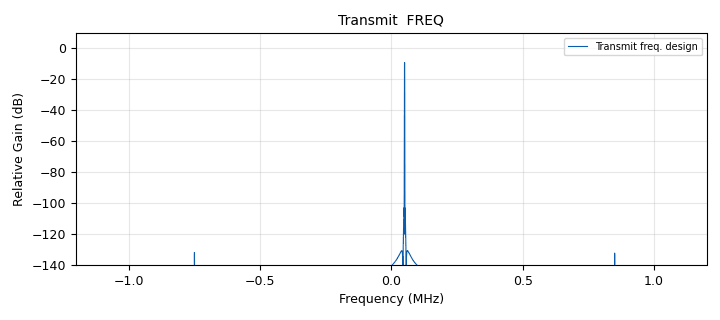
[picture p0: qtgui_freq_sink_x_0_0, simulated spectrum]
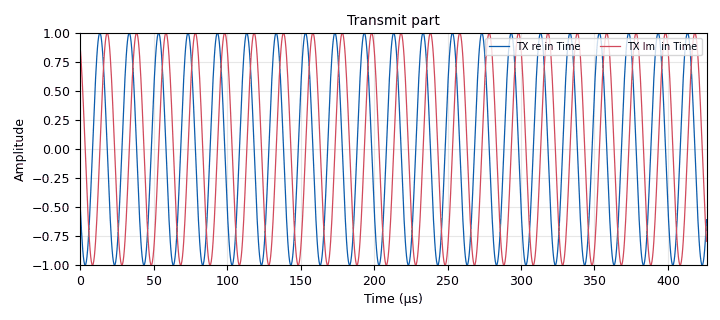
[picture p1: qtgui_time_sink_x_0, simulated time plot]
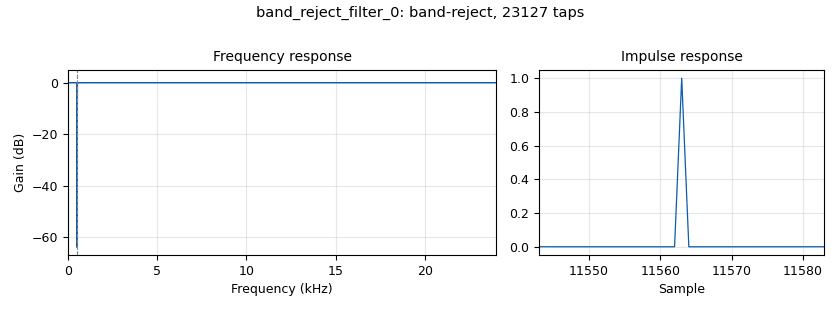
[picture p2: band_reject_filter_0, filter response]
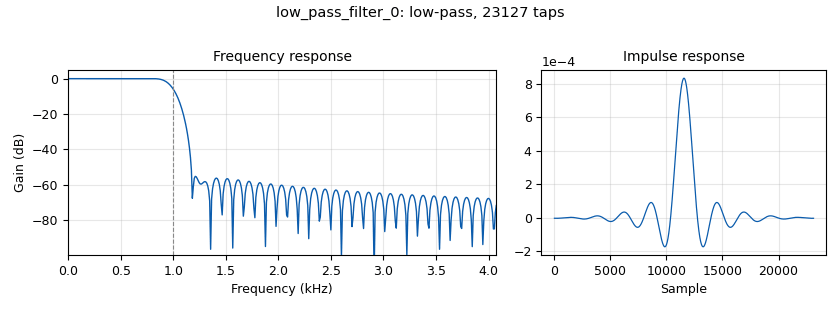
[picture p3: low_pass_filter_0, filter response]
options:
  parameters:
    generate_options: qt_gui
    id: radarPluto
    output_language: python
    title: adamplutoradar
  states: {}

blocks:
- name: audio_gain
  id: variable_qtgui_range
  parameters:
    start: '0'
    step: '1'
    stop: '100'
    value: '1'
  states: {}
- name: freqencyTXrx
  id: variable_qtgui_range
  parameters:
    start: '2000000000'
    step: '100000'
    stop: '3600000000'
    value: '3500000000'
  states: {}
- name: rx_gain
  id: variable_qtgui_range
  parameters:
    gui_hint: 0,1
    start: '0'
    step: '1'
    stop: '70'
    value: '64'
  states: {}
- name: samp_rate
  id: variable
  parameters:
    value: 2.4e6
  states: {}
- name: tone_freq
  id: variable_qtgui_range
  parameters:
    start: '-2e3'
    step: '1'
    stop: 2e3
    value: '500'
  states: {}
- name: tx_attent
  id: variable_qtgui_range
  parameters:
    gui_hint: 0,0
    start: '0'
    step: '1'
    stop: '100'
    value: '50'
  states: {}
- name: analog_sig_source_x_0
  id: analog_sig_source_x
  parameters:
    amp: '1'
    freq: '50000'
    offset: '0'
    phase: '0'
    samp_rate: samp_rate
    type: complex
    waveform: analog.GR_COS_WAVE
  states: {}
- name: audio_sink_0
  id: audio_sink
  parameters:
    samp_rate: '48000'
  states: {}
- name: band_reject_filter_0
  id: band_reject_filter
  parameters:
    decim: '1'
    gain: '1'
    high_cutoff_freq: '505'
    low_cutoff_freq: '495'
    samp_rate: samp_rate/50
    type: fir_filter_ccf
    width: '5'
    win: window.WIN_HAMMING
  states: {}
- name: blocks_complex_to_real_0
  id: blocks_complex_to_real
  parameters: {}
  states: {}
- name: blocks_multiply_const_vxx_0
  id: blocks_multiply_const_vxx
  parameters:
    const: audio_gain
    type: complex
  states: {}
- name: iio_pluto_sink_0
  id: iio_pluto_sink
  parameters:
    attenuation1: tx_attent
    bandwidth: '20000000'
    buffer_size: '32768'
    cyclic: 'False'
    filter_source: '''Auto'''
    frequency: freqencyTXrx
    samplerate: int(samp_rate)
    type: fc32
    uri: ip:192.168.2.1
  states: {}
- name: iio_pluto_source_0
  id: iio_pluto_source
  parameters:
    bandwidth: '20000000'
    bbdc: 'True'
    buffer_size: '32768'
    filter_source: '''Auto'''
    frequency: freqencyTXrx
    gain1: '''manual'''
    manual_gain1: rx_gain
    quadrature: 'True'
    rfdc: 'True'
    samplerate: int(samp_rate)
    type: fc32
    uri: ip:192.168.2.1
  states: {}
- name: low_pass_filter_0
  id: low_pass_filter
  parameters:
    cutoff_freq: tone_freq*2
    decim: '50'
    gain: '1'
    samp_rate: samp_rate
    type: fir_filter_ccf
    width: '250'
    win: window.WIN_HAMMING
  states: {}
- name: qtgui_freq_sink_x_0
  id: qtgui_freq_sink_x
  parameters:
    bw: samp_rate
    color1: '"dark blue"'
    fc: '0'
    fftsize: 1024*8
    grid: 'True'
    gui_hint: 2,1
    label1: 'Receiver Freq '
    name: Receiver
    type: complex
    wintype: window.WIN_HAMMING
  states: {}
- name: qtgui_freq_sink_x_0_0
  id: qtgui_freq_sink_x
  parameters:
    bw: samp_rate
    color1: '"dark red"'
    fc: '0'
    fftsize: 1024*8
    grid: 'True'
    gui_hint: 1,1
    label1: Transmit freq. design
    name: Transmit  FREQ
    type: complex
  states: {}
- name: qtgui_freq_sink_x_1
  id: qtgui_freq_sink_x
  parameters:
    bw: int(samp_rate/50)
    fc: '0'
    fftsize: 1024*8
    gui_hint: 4,1
    label1: LPF freq
    name: LPF freq
    type: complex
  states: {}
- name: qtgui_freq_sink_x_2
  id: qtgui_freq_sink_x
  parameters:
    bw: samp_rate/50
    fc: '0'
    fftsize: 1024*8
    gui_hint: 6,1
    label1: Band reject freq
    type: complex
  states: {}
- name: qtgui_time_sink_x_0
  id: qtgui_time_sink_x
  parameters:
    color1: red
    color2: magenta
    gui_hint: 1,0
    label1: TX re in Time
    label2: TX Im  in Time
    name: Transmit part
    size: '1024'
    srate: samp_rate
    type: complex
  states: {}
- name: qtgui_time_sink_x_0_0
  id: qtgui_time_sink_x
  parameters:
    color2: cyan
    entags: 'False'
    grid: 'True'
    gui_hint: 2,0
    label1: Receiver Re.part
    label2: Receiver Im.part
    name: Receiver Time
    size: 1024*8
    srate: samp_rate
    type: complex
  states: {}
- name: qtgui_time_sink_x_1
  id: qtgui_time_sink_x
  parameters:
    entags: 'False'
    gui_hint: 4,0
    label1: LPF Re in Time
    label2: LPF Im. in  Time
    name: Receiver LowPF
    size: '1024'
    srate: int(samp_rate/50)
    type: complex
  states: {}
- name: qtgui_time_sink_x_2
  id: qtgui_time_sink_x
  parameters:
    gui_hint: 6,0
    label1: bandreject re time
    label2: bandreject im time
    size: '1024'
    srate: samp_rate/50
    type: complex
  states: {}

connections:
- [analog_sig_source_x_0, '0', iio_pluto_sink_0, '0']
- [analog_sig_source_x_0, '0', qtgui_freq_sink_x_0_0, '0']
- [analog_sig_source_x_0, '0', qtgui_time_sink_x_0, '0']
- [band_reject_filter_0, '0', blocks_multiply_const_vxx_0, '0']
- [blocks_complex_to_real_0, '0', audio_sink_0, '0']
- [blocks_multiply_const_vxx_0, '0', blocks_complex_to_real_0, '0']
- [blocks_multiply_const_vxx_0, '0', qtgui_freq_sink_x_2, '0']
- [blocks_multiply_const_vxx_0, '0', qtgui_time_sink_x_2, '0']
- [iio_pluto_source_0, '0', low_pass_filter_0, '0']
- [iio_pluto_source_0, '0', qtgui_freq_sink_x_0, '0']
- [iio_pluto_source_0, '0', qtgui_time_sink_x_0_0, '0']
- [low_pass_filter_0, '0', band_reject_filter_0, '0']
- [low_pass_filter_0, '0', qtgui_freq_sink_x_1, '0']
- [low_pass_filter_0, '0', qtgui_time_sink_x_1, '0']

metadata:
  file_format: 1
